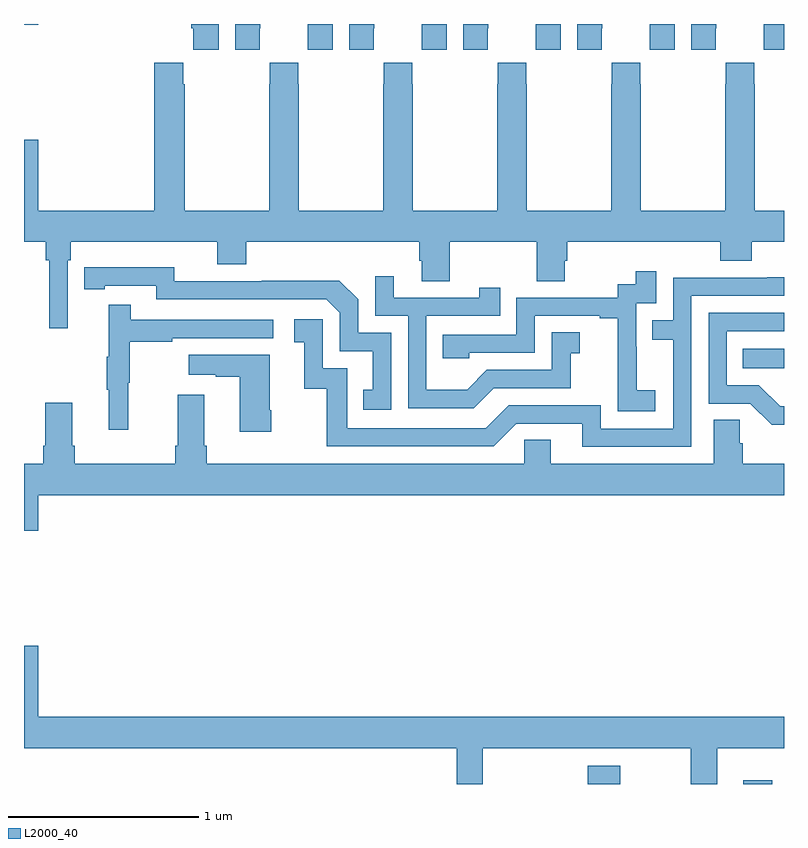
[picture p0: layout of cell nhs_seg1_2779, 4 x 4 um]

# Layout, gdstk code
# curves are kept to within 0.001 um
import gdstk
lib = gdstk.Library(unit=1e-6, precision=1e-09)
def R(c, l, rs):  # rectangles x0, y0, x1, y1
    for r in rs: c.add(gdstk.rectangle(r[:2], r[2:], *l))
def P(c, l, *ps):  # polygons
    for p in ps: c.add(gdstk.Polygon(p, *l))
L2000_40 = (2000, 40)

nhs_seg1_2779 = lib.new_cell('nhs_seg1_2779')
R(nhs_seg1_2779, L2000_40, [(263.966,562.199,264.139,562.294), (264.785,562.199,264.938,562.219), (264.784,564.386,265,564.49), (261,566.196,261.076,566.199)])
P(nhs_seg1_2779, L2000_40, [(262.024,566.199),(261.881,566.199),(261.881,566.176),(261.89,566.176),(261.89,566.064),(262.024,566.064)],
  [(265,566.199),(264.893,566.199),(264.893,566.176),(264.894,566.176),(264.894,566.064),(265,566.064)],
  [(264.642,566.176),(264.643,566.176),(264.643,566.199),(264.512,566.199),(264.512,566.064),(264.642,566.064)],
  [(264.424,566.199),(264.293,566.199),(264.293,566.176),(264.294,566.176),(264.294,566.064),(264.424,566.064)],
  [(264.042,566.176),(264.043,566.176),(264.043,566.199),(263.912,566.199),(263.912,566.064),(264.042,566.064)],
  [(263.824,566.199),(263.693,566.199),(263.693,566.176),(263.694,566.176),(263.694,566.064),(263.824,566.064)],
  [(263.442,566.176),(263.443,566.176),(263.443,566.199),(263.312,566.199),(263.312,566.064),(263.442,566.064)],
  [(263.224,566.199),(263.093,566.199),(263.093,566.176),(263.094,566.176),(263.094,566.064),(263.224,566.064)],
  [(262.842,566.176),(262.843,566.176),(262.843,566.199),(262.712,566.199),(262.712,566.064),(262.842,566.064)],
  [(262.624,566.199),(262.493,566.199),(262.493,566.176),(262.494,566.176),(262.494,566.064),(262.624,566.064)],
  [(262.242,566.176),(262.243,566.176),(262.243,566.199),(262.112,566.199),(262.112,566.064),(262.242,566.064)],
  [(261.076,565.591),(261,565.591),(261,565.052),(261.115,565.052),(261.115,564.956),(261.134,564.956),(261.134,564.597),(261.231,564.597),(261.231,564.956),(261.245,564.956),(261.245,565.052),(262.016,565.052),(262.016,564.935),(262.169,564.935),(262.169,565.052),(263.081,565.052),(263.081,564.954),(263.093,564.954),(263.093,564.844),(263.241,564.844),(263.241,565.052),(263.698,565.052),(263.698,564.844),(263.845,564.844),(263.845,564.954),(263.858,564.954),(263.858,565.052),(264.665,565.052),(264.665,564.953),(264.83,564.953),(264.83,565.052),(265,565.052),(265,565.216),(264.846,565.216),(264.846,565.883),(264.843,565.883),(264.843,565.996),(264.693,565.996),(264.693,565.883),(264.691,565.883),(264.691,565.216),(264.246,565.216),(264.246,565.883),(264.243,565.883),(264.243,565.996),(264.093,565.996),(264.093,565.883),(264.091,565.883),(264.091,565.216),(263.646,565.216),(263.646,565.883),(263.643,565.883),(263.643,565.996),(263.493,565.996),(263.493,565.883),(263.491,565.883),(263.491,565.216),(263.046,565.216),(263.046,565.883),(263.043,565.883),(263.043,565.996),(262.893,565.996),(262.893,565.883),(262.891,565.883),(262.891,565.216),(262.446,565.216),(262.446,565.883),(262.443,565.883),(262.443,565.996),(262.293,565.996),(262.293,565.883),(262.291,565.883),(262.291,565.216),(261.846,565.216),(261.846,565.883),(261.839,565.883),(261.839,565.996),(261.686,565.996),(261.686,565.216),(261.076,565.216)],
  [(262.932,564.573),(262.758,564.573),(262.758,564.75),(262.66,564.848),(262.252,564.848),(262.252,564.846),(261.792,564.846),(261.792,564.919),(261.316,564.918),(261.316,564.802),(261.424,564.802),(261.424,564.822),(261.696,564.822),(261.696,564.75),(262.59,564.75),(262.662,564.678),(262.662,564.477),(262.835,564.477),(262.835,564.273),(262.786,564.273),(262.786,564.168),(262.932,564.168)],
  [(264.322,564.271),(264.224,564.271),(264.224,564.5),(264.222,564.5),(264.222,564.729),(264.327,564.729),(264.327,564.898),(264.219,564.898),(264.219,564.828),(264.126,564.828),(264.126,564.759),(263.592,564.759),(263.592,564.564),(263.203,564.564),(263.203,564.441),(263.343,564.441),(263.343,564.468),(263.688,564.468),(263.688,564.663),(264.029,564.663),(264.029,564.651),(264.125,564.651),(264.125,564.367),(264.124,564.367),(264.124,564.161),(264.322,564.161)],
  [(263.473,564.282),(263.877,564.282),(263.877,564.467),(263.926,564.467),(263.926,564.577),(263.778,564.577),(263.778,564.378),(263.436,564.378),(263.332,564.274),(263.118,564.274),(263.118,564.663),(263.507,564.663),(263.507,564.811),(263.396,564.811),(263.396,564.759),(262.945,564.759),(262.945,564.871),(262.848,564.871),(262.848,564.663),(263.022,564.663),(263.022,564.177),(263.368,564.177)],
  [(264.513,564.768),(265,564.768),(265,564.866),(264.913,564.866),(264.913,564.864),(264.417,564.864),(264.417,564.639),(264.307,564.639),(264.307,564.538),(264.417,564.538),(264.417,564.069),(264.036,564.069),(264.036,564.192),(263.55,564.192),(263.43,564.072),(262.701,564.072),(262.701,564.387),(262.572,564.387),(262.572,564.646),(262.422,564.646),(262.422,564.525),(262.475,564.525),(262.475,564.279),(262.593,564.279),(262.593,563.976),(263.472,563.976),(263.592,564.096),(263.939,564.096),(263.939,563.973),(264.513,563.973)],
  [(261.548,564.312),(261.556,564.312),(261.556,564.526),(261.779,564.526),(261.779,564.546),(262.312,564.546),(262.312,564.642),(261.563,564.642),(261.563,564.721),(261.446,564.721),(261.446,564.449),(261.435,564.449),(261.435,564.275),(261.446,564.275),(261.446,564.063),(261.548,564.063)],
  [(265,564.186),(264.979,564.186),(264.868,564.297),(264.699,564.297),(264.699,564.582),(265,564.582),(265,564.678),(264.603,564.678),(264.603,564.201),(264.822,564.201),(264.935,564.089),(265,564.089)],
  [(262.302,564.166),(262.294,564.166),(262.294,564.457),(261.867,564.457),(261.867,564.353),(262.01,564.353),(262.01,564.343),(262.136,564.343),(262.136,564.054),(262.302,564.054)],
  [(261.076,563.72),(265,563.72),(265,563.884),(264.782,563.884),(264.782,563.993),(264.768,563.993),(264.768,564.116),(264.629,564.116),(264.629,563.884),(263.773,563.884),(263.773,564.011),(263.634,564.011),(263.634,563.884),(261.962,563.884),(261.962,563.98),(261.949,563.98),(261.949,564.247),(261.809,564.247),(261.809,563.98),(261.797,563.98),(261.797,563.884),(261.266,563.884),(261.266,563.98),(261.253,563.98),(261.253,564.205),(261.113,564.205),(261.113,563.98),(261.101,563.98),(261.101,563.884),(261,563.884),(261,563.532),(261.076,563.532)],
  [(263.414,562.388),(264.509,562.388),(264.509,562.199),(264.649,562.199),(264.649,562.388),(265,562.388),(265,562.552),(261.076,562.552),(261.076,562.927),(261,562.927),(261,562.388),(263.278,562.388),(263.278,562.199),(263.414,562.199)])

lib.write_gds('nhs_seg1_2779.gds')
